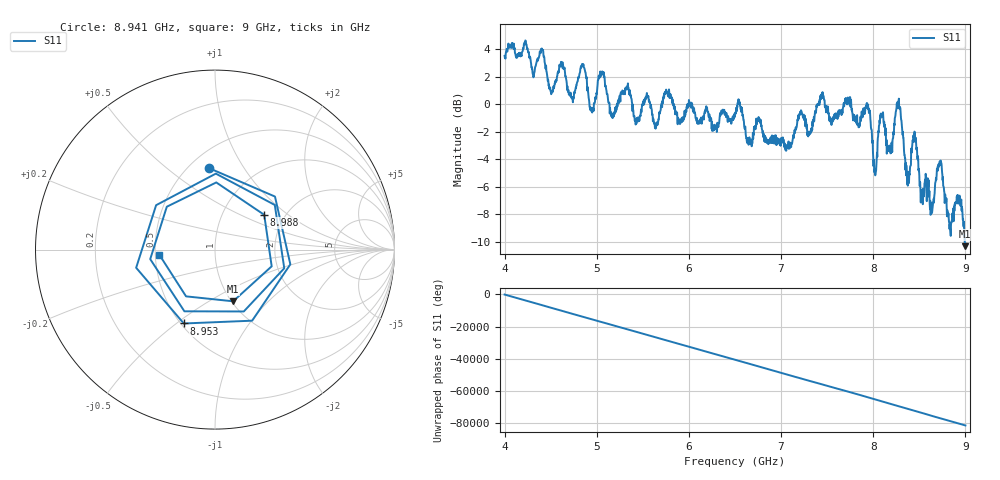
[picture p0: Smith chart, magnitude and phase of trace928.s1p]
! Created with skrf 1.8.0 (http://scikit-rf.org).
# Hz S RI R 50.0
!freq ReS11 ImS11
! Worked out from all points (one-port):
!   1601 points, 4 GHz to 9 GHz, reference 50 ohm
!   lowest |S11| = -10.3 dB at 8.994 GHz (marker M1), VSWR 1.88, Z = 50.9 - j32.3 ohm
!   |S11| at or under -10 dB: 8.992606 GHz to end of sweep
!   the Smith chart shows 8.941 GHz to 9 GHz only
!   S11 on the Smith chart (normalised r, x): 8.941 GHz: 0.62, +0.71; 8.953 GHz: 0.52, -0.53; 8.988 GHz: 1.57, +0.69; 9 GHz: 0.53, -0.03
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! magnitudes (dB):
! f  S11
! 4 GHz  3.5
! 4.625 GHz  2.7
! 4.725 GHz  0.5
! 4.853 GHz  2.8
! 4.944 GHz  -0.4
! 5.05 GHz  2.3
! 5.166 GHz  -0.9
! 5.25 GHz  0.6
! 5.875 GHz  -1.2
! 6.5 GHz  -0.7
! 7.125 GHz  -2.6
! 7.75 GHz  0.5
! 7.941 GHz  -0.2
! 8.022 GHz  -5.2
! 8.084 GHz  -0.7
! 8.181 GHz  -3.1
! 8.275 GHz  -0.2
! 8.375 GHz  -5.9
! 8.447 GHz  -2.0
! 8.528 GHz  -6.6
! 8.638 GHz  -7.9
! 8.719 GHz  -4.2
! 8.825 GHz  -8.6
! 8.941 GHz  -6.8
! 8.953 GHz  -7.0
! 8.988 GHz  -9.5
! 8.994 GHz  -10.3
! 9 GHz  -10.1
